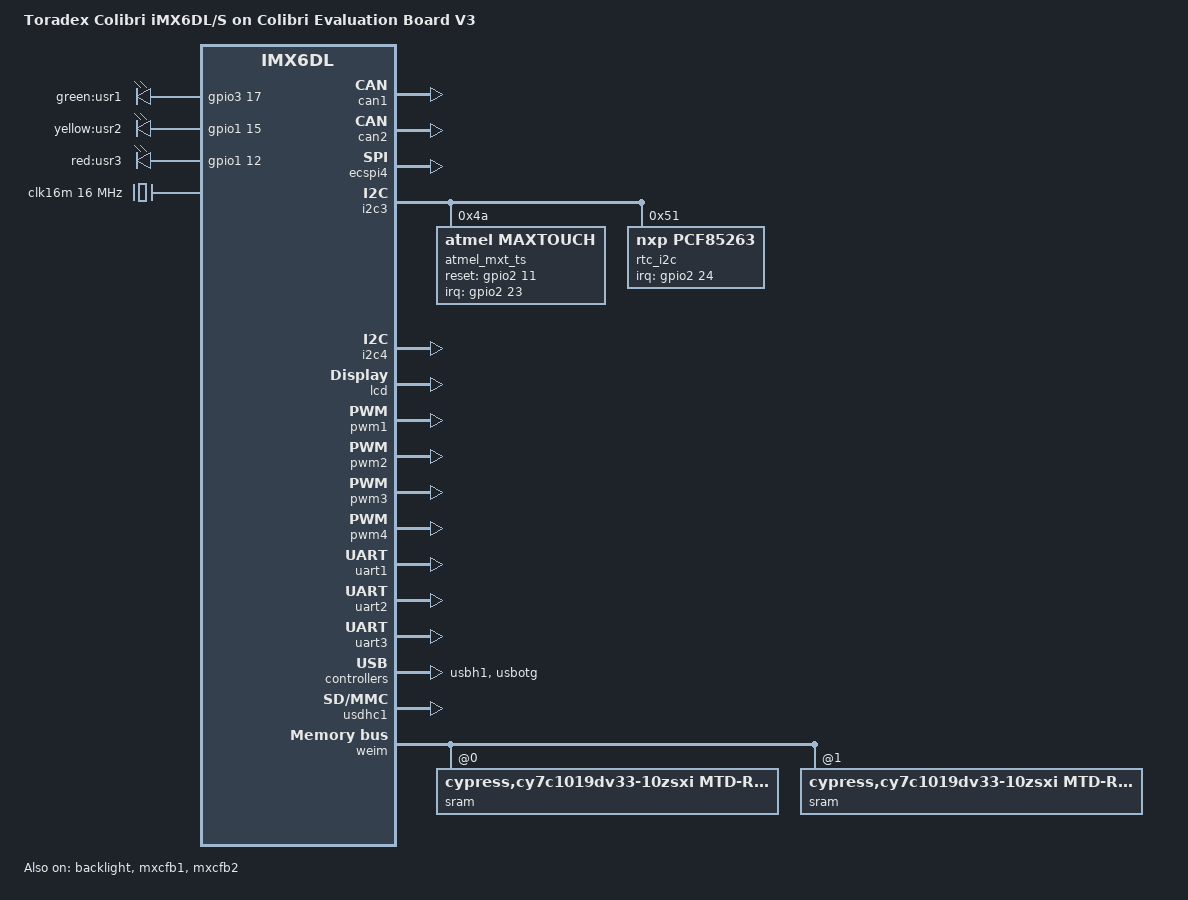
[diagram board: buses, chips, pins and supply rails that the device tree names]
/*
 * Copyright 2014-2018 Toradex AG
 * Copyright 2012 Freescale Semiconductor, Inc.
 * Copyright 2011 Linaro Ltd.
 *
 * The code contained herein is licensed under the GNU General Public
 * License. You may obtain a copy of the GNU General Public License
 * Version 2 or later at the following locations:
 *
 * http://www.opensource.org/licenses/gpl-license.html
 * http://www.gnu.org/copyleft/gpl.html
 */

/dts-v1/;

#include <dt-bindings/input/input.h>
#include <dt-bindings/interrupt-controller/irq.h>
#include "imx6dl.dtsi"
#include "imx6qdl-colibri.dtsi"

/ {
	model = "Toradex Colibri iMX6DL/S on Colibri Evaluation Board V3";
	compatible = "toradex,colibri_imx6dl-eval", "toradex,colibri_imx6dl", "fsl,imx6dl";

	aliases {
		i2c0 = &i2cddc;
		i2c1 = &i2c2;
		i2c2 = &i2c3;
		i2c3 = &i2c4;
	};

	aliases {
		rtc0 = &rtc_i2c;
		rtc1 = &snvs_rtc;
	};

	aliases {
		/* the following, together with kernel patches, forces a fixed assignment
		   between device id and usdhc controller */
		/* i.e. the eMMC on usdhc3 will be /dev/mmcblk0 */
		mmc0 = &usdhc3; /* eMMC */
		mmc1 = &usdhc1; /* MMC 4bit slot */
	};

	extcon_usbc_det: usbc_det {
		compatible = "linux,extcon-usb-gpio";
		debounce = <25>;
		id-gpio = <&gpio7 12 GPIO_ACTIVE_HIGH>;
		pinctrl-names = "default";
		pinctrl-0 = <&pinctrl_usbc_det_1>;
		status = "disabled"; /* disabled since the id pin is being used as gpio */
	};

	leds {
		compatible = "gpio-leds";
		pinctrl-names = "default";
		pinctrl-0 = <&pinctrl_leds_hensys>;

		led-green {
			label = "green:usr1";
			gpios = <&gpio3 17 GPIO_ACTIVE_HIGH>;
		};

		led-yellow {
			label = "yellow:usr2";
			gpios = <&gpio1 15 GPIO_ACTIVE_HIGH>;
		};

		led-red {
			label = "red:usr3";
			gpios = <&gpio1 12 GPIO_ACTIVE_HIGH>;
		};
	};

	regulators {
		reg_usb_host_vbus: usb_host_vbus {
			status = "okay";
		};
	};
};

&backlight {
#if 0 /* PWM polarity: if 1 is brightest */
	pwms = <&pwm2 0 5000000 0>;
#if 0 /* Fusion 7 needs 10kHz PWM frequency */
	pwms = <&pwm2 0 100000 0>;
#endif
#else /* PWM polarity: if 0 is brightest */
	pwms = <&pwm2 0 5000000 1>;
#endif
	brightness-levels = <0 4 8 16 32 64 128 255>;
	default-brightness-level = <6>;
	status = "okay";
};

/ {
	clocks {
		/* fixed crystal dedicated to mcp251x */
		clk16m: clk@1 {
			compatible = "fixed-clock";
			reg=<1>;
			#clock-cells = <0>;
			clock-frequency = <16000000>;
			clock-output-names = "clk16m";
		};
	};
};


/* added CAN interface nodes */
&can1 {
       status = "okay";
};
&can2 {
       status = "okay";
};

/* Colibri SPI */
&ecspi4 {
	status = "okay";

	spidev0: spidev@1 {
		compatible = "toradex,evalspi";
		reg = <0>;
		spi-max-frequency = <23000000>;
		status = "disabled";
	};
};

/*
 * I2C: I2C3_SDA/SCL on SODIMM 194/196 (e.g. RTC on carrier
 * board)
 */
&i2c3 {
	status = "okay";

/* the PCAPs use SODIMM 28/30, also used for PWM<B>, PWM<C>, aka pwm1, pwm4.
   so if you enable one of the PCAP controllers disable the pwms */
	/* Atmel maxtouch controller */
	atmel_mxt_ts: atmel_mxt_ts@4a {
		compatible = "atmel,maxtouch";
		pinctrl-names = "default";
		pinctrl-0 = <&pinctrl_mxt_ts>;
		reg = <0x4a>;
		interrupt-parent = <&gpio2>;
		interrupts = <23 IRQ_TYPE_EDGE_FALLING>; /* SODIMM 105 */
		reset-gpios = <&gpio2 11 GPIO_ACTIVE_HIGH>; /* SODIMM 100 */
		status = "okay";
	};

	rtc_i2c: rtc@51 { 
        compatible = "nxp,pcf85263"; 
        reg = <0x51>; 
        interrupt-parent = <&gpio2>; 
        interrupts = <24 IRQ_TYPE_LEVEL_LOW>; 
        interrupt-names = "INTB";
        //quartz-load-capacitance = <PCF85263_QUARTZCAP_12p5pF>; 
        //quartz-drive-strength = <PCF85263_QUARTZDRIVE_LOW>; 
	}; 
};

/* added i2c4 node */
&i2c4 {
	status = "okay";
};

&iomuxc {
	/*
	 * Mux all pins which are unused to be GPIOs
	 * so they are ready for export to user space
	 */
	pinctrl-names = "default";
	pinctrl-0 = <
		&pinctrl_weim_gpio_1 &pinctrl_weim_gpio_2
		&pinctrl_weim_gpio_3 &pinctrl_weim_gpio_4
		// &pinctrl_weim_gpio_5 &pinctrl_weim_gpio_6 /* removed this node since it is being used by CAN interface */
		&pinctrl_weim_gpio_5
		&pinctrl_csi_gpio_1
		&pinctrl_gpio_1
		//&pinctrl_gpio_2 /* removed this node since it is being used by CAN interface */
		&pinctrl_usbh_oc_1 &pinctrl_usbc_id_1>;

	gpio_leds {
		pinctrl_leds_hensys: leds_hensys {
			fsl,pins = <
				MX6QDL_PAD_EIM_D17__GPIO3_IO17      PAD_CTRL_HYS_PU /* SODIMM 96 */
				MX6QDL_PAD_SD2_DAT3__GPIO1_IO12     PAD_CTRL_HYS_PU /* SODIMM 99 */
				MX6QDL_PAD_SD2_DAT0__GPIO1_IO15	    PAD_CTRL_HYS_PU /* SODIMM 98 */
			>;
		};
	};

	gpio {
		pinctrl_mxt_ts: mxt-ts {
			fsl,pins = <
				MX6QDL_PAD_EIM_CS0__GPIO2_IO23  PAD_CTRL_HYS_PU /* SODIMM 105 */
				MX6QDL_PAD_SD4_DAT3__GPIO2_IO11 PAD_CTRL_HYS_PU /* SODIMM 100 */
			>;
		};
	};
};

&lcd {
	status = "okay";
};

&mxcfb1 {
	status = "okay";
};

&mxcfb2 {
	status = "okay";
};

/* the PCAPs use SODIMM 28/30, also used for PWM<B>, PWM<C>, aka pwm1, pwm4.
   so if you enable one of the PCAP controllers disable the pwms */
&pwm1 {
	status = "okay";
};

&pwm2 {
	status = "okay";
};

&pwm3 {
	status = "okay";
};

&pwm4 {
	status = "okay";
};

&uart1 {
	status = "okay";
};

&uart2 {
	status = "okay";
};

&uart3 {
	status = "okay";
	linux,rs485-enabled-at-boot-time;
	rs485-rts-active-low;
	rs485-rx-during-tx;
};

&usbh1 {
	status = "okay";
};

&usbotg {
	status = "okay";
	extcon = <&extcon_usbc_det>, <&extcon_usbc_det>;
};

/* MMC */
&usdhc1 {
	status = "okay";
};

&weim {
	status = "okay";
	fsl,weim-cs-gpr = <&gpr>;
	/* weim memory map: 32MB on CS0, 32MB on CS1, 32MB on CS2, 32MB on CS3 */
	ranges = <0 0 0x08000000 0x02000000
	          1 0 0x0a000000 0x02000000
	          2 0 0x0c000000 0x02000000
	          3 0 0x0e000000 0x02000000>;
	/* SRAM on CS0 */
	sram@0,0 {
		compatible = "cypress,cy7c1019dv33-10zsxi, mtd-ram";
		reg = <0 0 0x00010000>;
		#address-cells = <1>;
		#size-cells = <1>;
		bank-width = <2>;
		fsl,weim-cs-timing = <0x00010081 0x00000000 0x04000000
				0x00000000 0x04000040 0x00000000>;
	};
	/* SRAM on CS1 */
	sram@1,0 {
		compatible = "cypress,cy7c1019dv33-10zsxi, mtd-ram";
		reg = <1 0 0x00010000>;
		#address-cells = <1>;
		#size-cells = <1>;
		bank-width = <2>;
		fsl,weim-cs-timing = <0x00010081 0x00000000 0x04000000
				0x00000000 0x04000040 0x00000000>;
	};
};
